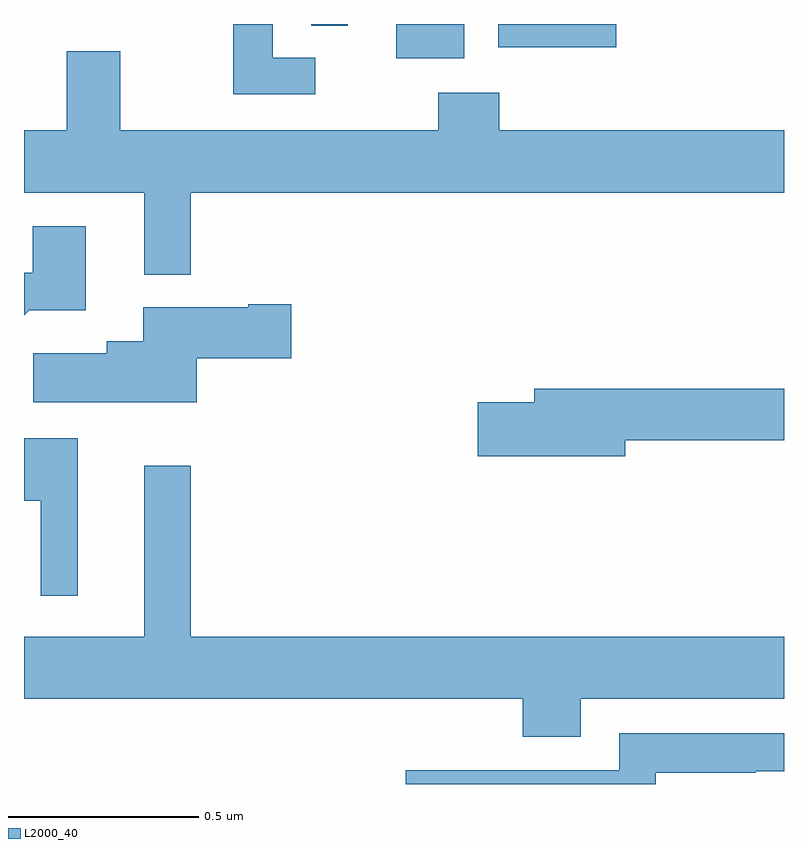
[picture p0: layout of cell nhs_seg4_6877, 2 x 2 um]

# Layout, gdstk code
import gdstk
lib = gdstk.Library(unit=1e-6, precision=1e-09)
def R(c, l, rs):  # rectangles x0, y0, x1, y1
    for r in rs: c.add(gdstk.rectangle(r[:2], r[2:], *l))
def P(c, l, *ps):  # polygons
    for p in ps: c.add(gdstk.Polygon(p, *l))
L2000_40 = (2000, 40)

nhs_seg4_6877 = lib.new_cell('nhs_seg4_6877')
R(nhs_seg4_6877, L2000_40, [(195.98,827.81,196.159,827.9), (196.248,827.839,196.558,827.9), (195.756,827.896,195.852,827.9)])
P(nhs_seg4_6877, L2000_40, [(195.766,827.811),(195.655,827.811),(195.655,827.9),(195.551,827.9),(195.551,827.715),(195.766,827.715)],
  [(195.439,827.456),(197,827.456),(197,827.62),(196.25,827.62),(196.25,827.719),(196.09,827.719),(196.09,827.62),(195.253,827.62),(195.253,827.828),(195.113,827.828),(195.113,827.62),(195,827.62),(195,827.456),(195.317,827.456),(195.317,827.24),(195.439,827.24)],
  [(195.014,827.147),(195.163,827.147),(195.163,827.368),(195.023,827.368),(195.023,827.245),(195,827.245),(195,827.133)],
  [(195.454,827.021),(195.703,827.021),(195.703,827.163),(195.59,827.163),(195.59,827.155),(195.314,827.155),(195.314,827.065),(195.218,827.065),(195.218,827.033),(195.024,827.033),(195.024,826.904),(195.454,826.904)],
  [(196.582,826.804),(197,826.804),(197,826.94),(196.343,826.94),(196.343,826.904),(196.194,826.904),(196.194,826.762),(196.582,826.762)],
  [(195.142,826.81),(195,826.81),(195,826.646),(195.044,826.646),(195.044,826.395),(195.142,826.395)],
  [(196.465,826.124),(197,826.124),(197,826.288),(195.439,826.288),(195.439,826.738),(195.317,826.738),(195.317,826.288),(195,826.288),(195,826.124),(196.313,826.124),(196.313,826.025),(196.465,826.025)],
  [(196.662,825.929),(196.925,825.929),(196.925,825.933),(197,825.933),(197,826.033),(196.566,826.033),(196.566,825.936),(196.005,825.936),(196.005,825.9),(196.662,825.9)])

lib.write_gds('nhs_seg4_6877.gds')
